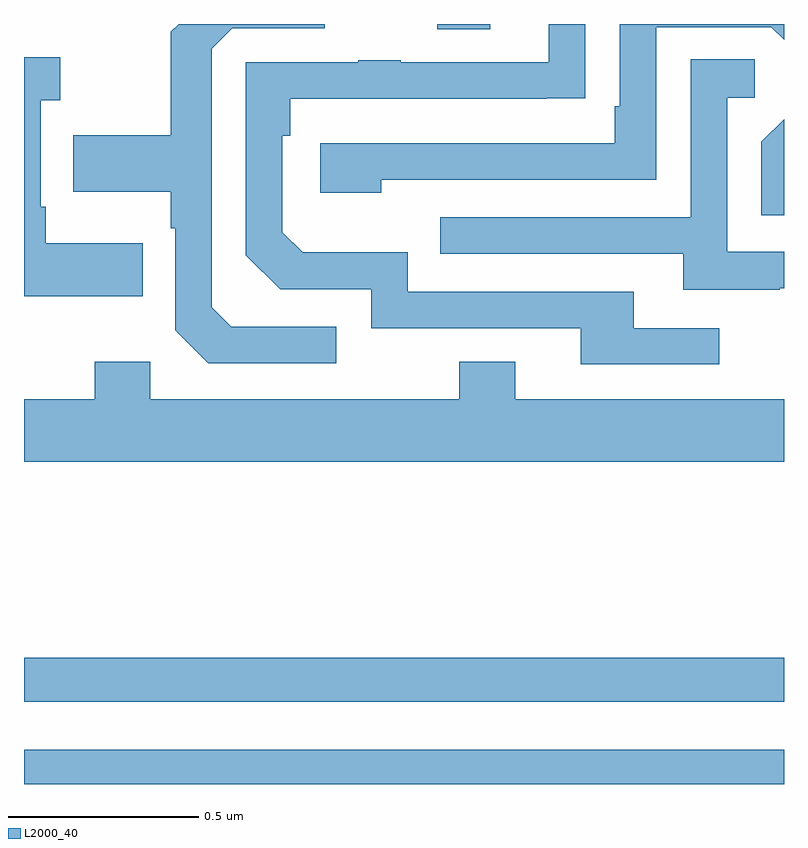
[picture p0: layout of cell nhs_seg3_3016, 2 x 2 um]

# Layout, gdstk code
import gdstk
lib = gdstk.Library(unit=1e-6, precision=1e-09)
def R(c, l, rs):  # rectangles x0, y0, x1, y1
    for r in rs: c.add(gdstk.rectangle(r[:2], r[2:], *l))
def P(c, l, *ps):  # polygons
    for p in ps: c.add(gdstk.Polygon(p, *l))
L2000_40 = (2000, 40)

nhs_seg3_3016 = lib.new_cell('nhs_seg3_3016')
R(nhs_seg3_3016, L2000_40, [(148,701.4,150,701.49), (148,701.616,150,701.732), (149.087,703.386,149.227,703.4)])
P(nhs_seg3_3016, L2000_40, [(149.83,702.6),(149.605,702.6),(149.605,702.696),(149.01,702.696),(149.01,702.799),(148.733,702.799),(148.68,702.852),(148.68,703.106),(148.7,703.106),(148.7,703.203),(149.375,703.203),(149.375,703.204),(149.477,703.204),(149.477,703.4),(149.381,703.4),(149.381,703.299),(148.991,703.299),(148.991,703.304),(148.879,703.304),(148.879,703.299),(148.584,703.299),(148.584,702.792),(148.674,702.702),(148.914,702.702),(148.914,702.6),(149.465,702.6),(149.465,702.504),(149.83,702.504)],
  [(148.822,702.603),(148.545,702.603),(148.494,702.654),(148.494,703.335),(148.548,703.389),(148.792,703.389),(148.792,703.4),(148.407,703.4),(148.386,703.379),(148.386,703.107),(148.129,703.107),(148.129,702.959),(148.386,702.959),(148.386,702.863),(148.398,702.863),(148.398,702.594),(148.485,702.507),(148.822,702.507)],
  [(148.94,702.99),(149.664,702.99),(149.664,703.392),(149.967,703.392),(150,703.359),(150,703.4),(149.568,703.4),(149.568,703.183),(149.555,703.183),(149.555,703.086),(148.779,703.086),(148.779,702.956),(148.94,702.956)],
  [(148.313,702.823),(148.057,702.823),(148.057,702.919),(148.044,702.919),(148.044,703.199),(148.096,703.199),(148.096,703.312),(148,703.312),(148,702.683),(148.313,702.683)],
  [(149.989,702.705),(150,702.705),(150,702.801),(149.85,702.801),(149.85,703.206),(149.923,703.206),(149.923,703.307),(149.754,703.307),(149.754,702.891),(149.095,702.891),(149.095,702.795),(149.735,702.795),(149.735,702.701),(149.989,702.701)],
  [(150,703.15),(149.94,703.09),(149.94,702.897),(150,702.897)],
  [(150,702.412),(149.293,702.412),(149.293,702.511),(149.146,702.511),(149.146,702.412),(148.332,702.412),(148.332,702.511),(148.186,702.511),(148.186,702.412),(148,702.412),(148,702.248),(150,702.248)])

lib.write_gds('nhs_seg3_3016.gds')
